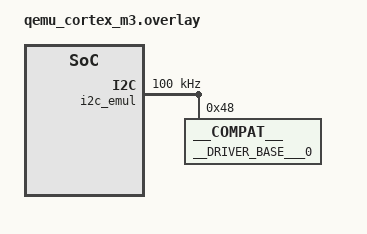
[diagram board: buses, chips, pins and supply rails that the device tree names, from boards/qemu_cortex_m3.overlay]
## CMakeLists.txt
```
cmake_minimum_required(VERSION 3.20.0)
find_package(Zephyr REQUIRED HINTS $ENV{ZEPHYR_BASE})
project(__MODULE_NAME___sitl_test)

file(GLOB app_sources src/*.c)
target_sources(app PRIVATE ${app_sources})
```

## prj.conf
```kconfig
CONFIG_ZTEST=y
CONFIG___KCONFIG_SYM__=y
CONFIG_EMUL=y
CONFIG_I2C_EMUL=y
CONFIG___KCONFIG_SYM___EMUL=y
CONFIG___KCONFIG_SYM___EMUL_BACKEND_SITL=y
```

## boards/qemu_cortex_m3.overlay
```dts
/ {
	soc {
		i2c_emul: i2c@100 {
			compatible = "zephyr,i2c-emul-controller";
			reg = <0x100 4>;
			#address-cells = <1>;
			#size-cells = <0>;
			clock-frequency = <100000>;
			status = "okay";

			__DRIVER_BASE___0: __DRIVER_BASE___0@48 {
				compatible = "__COMPAT__";
				reg = <0x48>;
				status = "okay";
			};
		};
	};
};
```

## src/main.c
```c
/*
 * SITL harness: boots the hardware driver with the SITL emulator backend.
 *
 * TODO: connect Basilisk here once the socket backend is implemented.
 */

#include <zephyr/kernel.h>

int main(void)
{
	/* connect Basilisk here */

	while (true) {
		k_sleep(K_FOREVER);
	}

	return 0;
}
```
